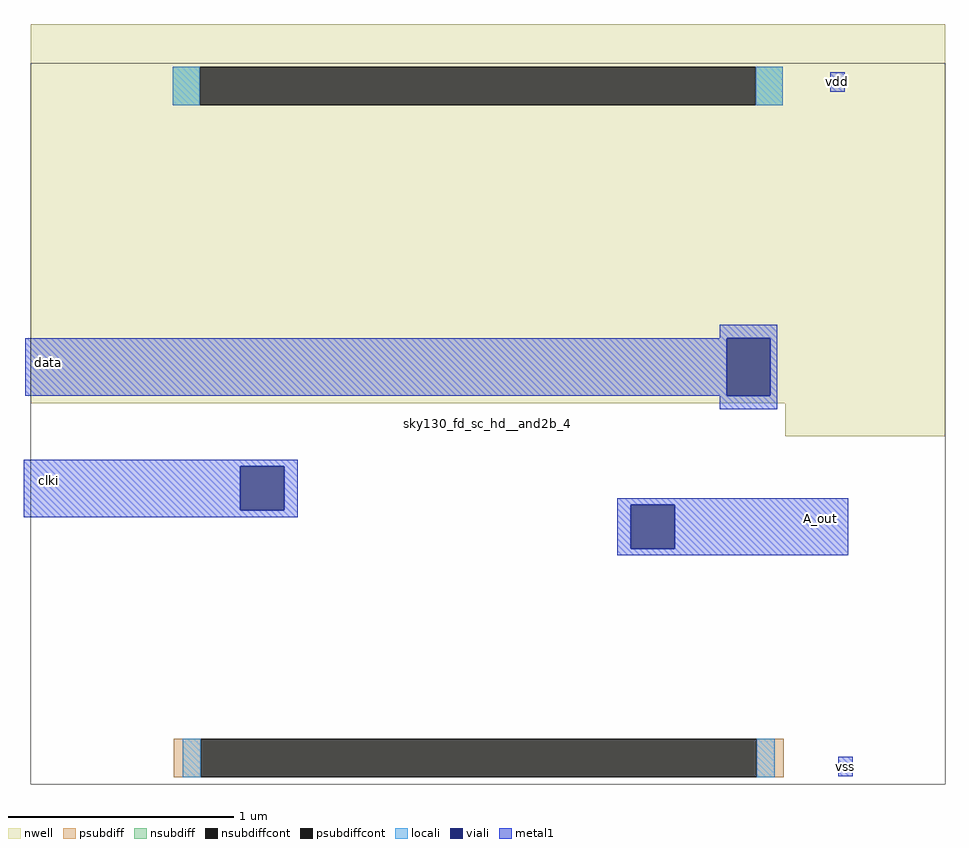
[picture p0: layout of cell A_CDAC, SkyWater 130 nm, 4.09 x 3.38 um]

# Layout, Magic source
magic
tech sky130A
magscale 1 2
<< nwell >>
rect 958 348 1770 685
rect 1628 319 1770 348
<< psubdiff >>
rect 1085 16 1109 50
rect 1603 16 1627 50
<< nsubdiff >>
rect 1084 613 1108 647
rect 1602 613 1626 647
<< psubdiffcont >>
rect 1109 16 1603 50
<< nsubdiffcont >>
rect 1108 613 1602 647
<< locali >>
rect 1084 613 1108 647
rect 1602 613 1626 647
rect 1093 16 1109 50
rect 1603 16 1619 50
<< viali >>
rect 1576 355 1615 406
rect 1144 253 1183 292
rect 1491 219 1530 258
<< metal1 >>
rect 1668 625 1681 642
rect 1570 406 1621 418
rect 953 355 1576 406
rect 1615 355 1621 406
rect 1570 343 1621 355
rect 952 292 1195 298
rect 952 253 1144 292
rect 1183 253 1195 292
rect 952 247 1195 253
rect 1479 258 1684 264
rect 1479 219 1491 258
rect 1530 219 1684 258
rect 1479 213 1684 219
rect 1675 17 1688 34
use sky130_fd_sc_hd__and2b_4  sky130_fd_sc_hd__and2b_4_0 $PDKPATH/libs.ref/sky130_fd_sc_hd/mag
transform 1 0 996 0 1 58
box -38 -48 774 592
<< labels >>
flabel metal1 1675 17 1688 34 0 FreeSans 160 0 0 0 vss
port 0 nsew
flabel metal1 1653 237 1666 254 0 FreeSans 160 0 0 0 A_out
port 1 nsew
flabel metal1 967 271 980 288 0 FreeSans 160 0 0 0 clki
port 2 nsew
flabel metal1 1668 625 1681 642 0 FreeSans 160 0 0 0 vdd
port 4 nsew
flabel metal1 967 376 980 393 0 FreeSans 160 0 0 0 data
port 3 nsew
<< end >>
